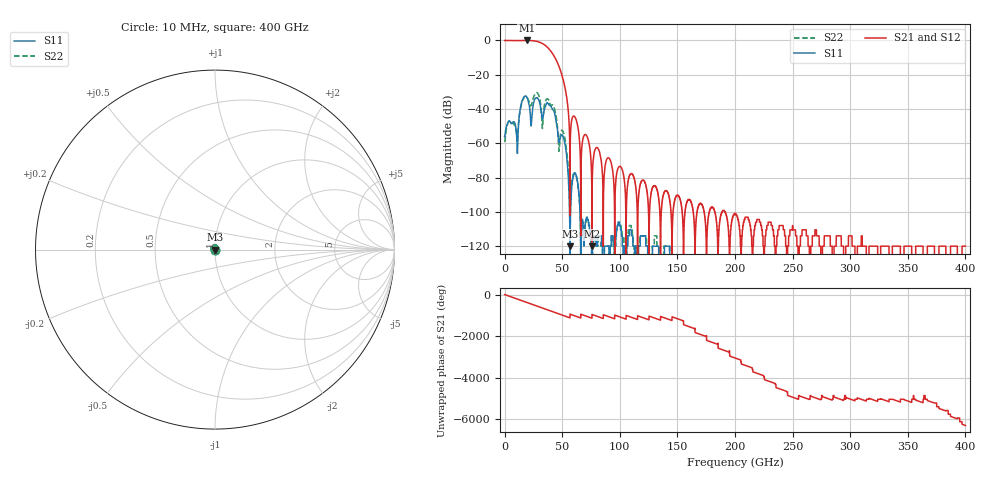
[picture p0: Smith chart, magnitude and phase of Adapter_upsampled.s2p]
# MHz MA S R 50.0
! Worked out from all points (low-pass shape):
!   40000 points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, 10 MHz to 400 GHz, reference 50 ohm
!   highest |S21| = 0.00 dB at 19.14 GHz (marker M1); lowest = -120.0 dB at 75.84 GHz (marker M2)
!   |S21| within 3 dB of the highest: start of sweep to 35.52 GHz
!   lowest |S11| = -120.0 dB at 56.67 GHz (marker M3), VSWR 1.00, Z = 50 - j8.82e-05 ohm
!   |S11| at or under -10 dB: start of sweep to end of sweep
!   |S22| runs from - to -30.4 dB; largest |S21 - S12| = 0.0042
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10  0.001568 0.7  0.9993 -0.2  0.9994 -0.2  0.001094 0.7
4700  0.00432 26.3  0.996 -93.0  0.996 -93.0  0.004392 -54.6
9060  0.00373 28.5  0.992 -179.1  0.9922 -179.1  0.003305 149.5
13920  0.01156 152.5  0.993 84.9  0.9932 84.9  0.01097 178.1
19140  0.0229 63.5  0.9999 -18.3  0.9986 -18.2  0.02252 63.8
22950  0.003235 63.6  0.9941 -93.6  0.9933 -93.6  0.01248 -87.3
26990  0.02079 75.7  0.9593 -173.4  0.9578 -173.4  0.02866 131.1
31260  0.01103 -21.4  0.8655 102.2  0.8643 102.2  0.01383 26.0
35610  0.01256 97.3  0.7037 16.1  0.7033 16.1  0.01721 143.4
40150  0.01216 -11.1  0.4866 -73.5  0.486 -73.5  0.01246 84.8
49320  0.001746 -11.4  0.1092 105.2  0.1092 105.4  0.002336 125.3
56670  1e-06 -118.1  0.000325 -39.9  0.000324 -39.9  4e-06 -83.3
61390  0.000133 92.1  0.005594 46.8  0.005587 46.8  0.000131 -88.6
66680  4e-06 -177.2  0.000489 122.3  0.000489 122.3  4e-06 -22.4
70930  6e-06 -43.3  0.001727 38.3  0.001728 38.3  6e-06 18.7
75840  0 -43.5  1e-06 -58.7  1e-06 -58.7  0 -155.8
80260  1e-06 -179.3  0.000751 33.9  0.000751 33.8  1e-06 3.6
133340  1e-06 -111.2  3.1e-05 -115.2  3.1e-05 -115.2  1e-06 -162.6
200010  0 141.7  9e-06 -172.9  9e-06 -172.9  0 -120.8
266670  0 38.4  1e-06 129.5  1e-06 129.4  0 -75.8
333340  0 119.7  1e-06 -111.8  1e-06 -111.8  0 159.6
400000  0 -180.0  1e-06 180.0  1e-06 -180.0  0 -0.0
